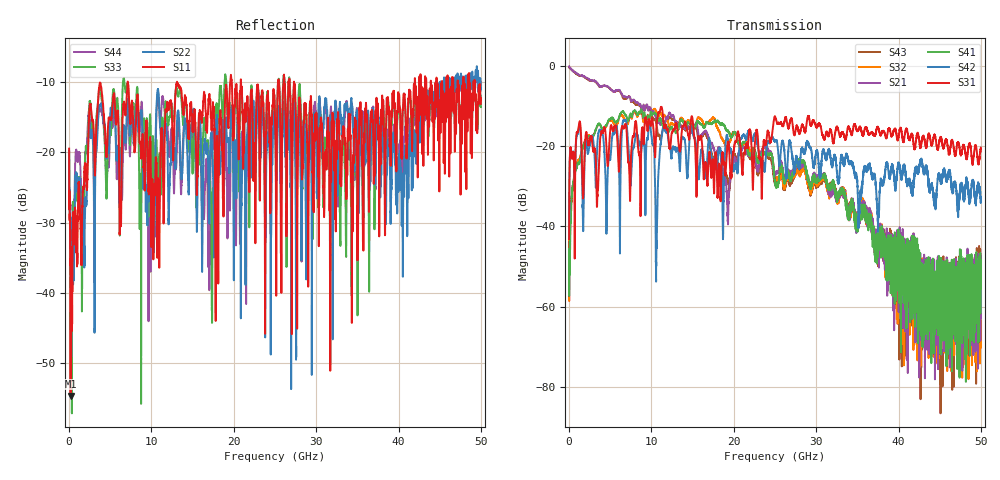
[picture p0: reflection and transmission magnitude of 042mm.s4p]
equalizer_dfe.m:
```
clear;

symbolRate = 56*1e9;   % symbol rate in Bd
M = 4;            % modulation order
maxErrs = 200;    % target number of errors at each test
maxSymb = 1e7;    % maximum number of symbols at each test
nSymb = 409600;     % number of symbols per vector

% DFE parameters parameters
const = real(pammod(0:M-1,M));    % signal constellation
algType = 'RLS';         % RLS or LMS algorithm
forgetFactor = 0.999999; % parameter of RLS algorithm
nFwdWts = 16;            % number of feedforward weights
%  nFbkWts = 1;            % number of feedback weights

% Channel
ChannelFilename = '042mm.s4p'; %Specify channel S-parameter
imPFilename = ['impulseResponse_',ChannelFilename(1:5),'_',num2str(symbolRate/1e9),'GBd.mat'];
if ~exist(imPFilename,'file')
    ConvertSParameterToImpulseResponse;
else
    load(imPFilename);
end
chnl = chnlImP';  % channel impulse response [0.227 0.460 0.688 0.460 0.227]'
fprintf(['Impulse response of ',ChannelFilename(1:5),' Channel at ', num2str(symbolRate/1e9),'GBd is \n [',num2str(chnlImP),'].\n']);

% Equalizer
eqdfe = comm.DecisionFeedbackEqualizer('Algorithm',algType, ...
    'ForgettingFactor',forgetFactor, ...
    'NumForwardTaps',nFwdWts, ...
    'Constellation',const, ...
    'ReferenceTap',round(nFwdWts/2), ...
    'TrainingFlagInputPort',true);
refTap = eqdfe.ReferenceTap;

% Initialize channel and error collection parameters
chanState = [];
numErrs   = 0;
numBits   = 0;
firstBlk = true;  % RLS for first data block, LMS thereafter
    
while (numErrs < maxErrs && numBits < maxSymb)
    % Generate random data and apply PAM4 modulation
    msg = randi([0 M-1],nSymb,1);
    txSig = real(pammod(msg,M));
    % Pass the signal through the channel
    [filtSig,chanState] = filter(chnl,1,txSig,chanState);
    noisySig = filtSig;
    
    if (strcmp(algType,'LMS'))
        mxStep = maxstep(eqdfe,noisySig);
        if (eqdfe.StepSize > mxStep)
            fprintf('Step size is too big.');
            quit(0,"force");
        end
    end
    if (numErrs < maxErrs)
        trainSig = txSig;
        if (firstBlk)
            [PreD,err] = eqdfe(noisySig,trainSig,true);
        else
            [PreD,err] = eqdfe(noisySig,trainSig,false);
        end
        demodSig = pamdemod(PreD,M);
        
        range1 = 1 : length(msg)-refTap+1;
        range2 = refTap : length(demodSig);
        [currErrs, ratio] = biterr(msg(range1), demodSig(range2));
        if (~firstBlk)
            numErrs = numErrs + currErrs;       % cumulative
            numBits = numBits + length(range1); % cumulative
            BER = numErrs / numBits;
        end
    end
    firstBlk = false;  % done processing first data block
end
fprintf(['Bit error rate of ',ChannelFilename(1:5),' Channel at ', num2str(symbolRate/1e9),'GBd with ', num2str(nFwdWts),' Forward Taps and ' , ' Feedback Taps is ',num2str(BER),'.\n']);
% Reset the equalizer for the next test. 
release(eqdfe)
```
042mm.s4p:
!Agilent Technologies,N5245A,MY51251349,A.09.33.09
!Agilent N5245A: A.09.33.09
!Date: Wednesday, September 30, 2020 11:25:14
!Correction: S11(Full 4 Port(1,2,3,4))
!S12(Full 4 Port(1,2,3,4))
!S13(Full 4 Port(1,2,3,4))
!S14(Full 4 Port(1,2,3,4))
!S21(Full 4 Port(1,2,3,4))
!S22(Full 4 Port(1,2,3,4))
!S23(Full 4 Port(1,2,3,4))
!S24(Full 4 Port(1,2,3,4))
!S31(Full 4 Port(1,2,3,4))
!S32(Full 4 Port(1,2,3,4))
!S33(Full 4 Port(1,2,3,4))
!S34(Full 4 Port(1,2,3,4))
!S41(Full 4 Port(1,2,3,4))
!S42(Full 4 Port(1,2,3,4))
!S43(Full 4 Port(1,2,3,4))
!S44(Full 4 Port(1,2,3,4))
!S4P File: Measurements: <S11,S12,S13,S14>,
!<S21,S22,S23,S24>,
!<S31,S32,S33,S34>,
!<S41,S42,S43,S44>:
# Hz S  dB  R 50
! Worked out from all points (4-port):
!   6401 points, 10 MHz to 50 GHz, reference 50 ohm
!   strongest paths, dB at 10 MHz, 12.51 GHz, 25 GHz, 37.5 GHz, 50 GHz:
!     S31: -43.1, -16.7, -12.7, -15.3, -20.4
!     S42: -42.8, -21.6, -18.8, -40.1, -33.0
!     S41: -45.8, -15.5, -29.4, -45.8, -55.3
!     S21: -0.1, -12.5, -27.0, -43.5, -54.8
!     S32: -40.2, -14.3, -27.9, -41.5, -50.3
!     S43: -0.3, -13.3, -28.9, -44.3, -55.4
!   lowest |S11| = -54.7 dB at 189.7 MHz (marker M1), VSWR 1.00, Z = 50.2 + j0.0447 ohm
!   |S11| at or under -10 dB: start of sweep to 7.117 GHz; 13.12 GHz to 19.57 GHz (6.445 GHz wide, 39.4 % of centre); 27.31 GHz to 41.97 GHz (14.65 GHz wide, 42.3 % of centre)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
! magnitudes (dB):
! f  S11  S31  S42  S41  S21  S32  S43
! 10 MHz  -19.5  -43.1  -42.8  -45.8  -0.1  -40.2  -0.3
! 189.7 MHz  -54.7  -20.5  -20.6  -37.5  -0.6  -38.6  -0.7
! 50 GHz  -12.3  -20.4  -33.0  -55.3  -54.8  -50.3  -55.4
